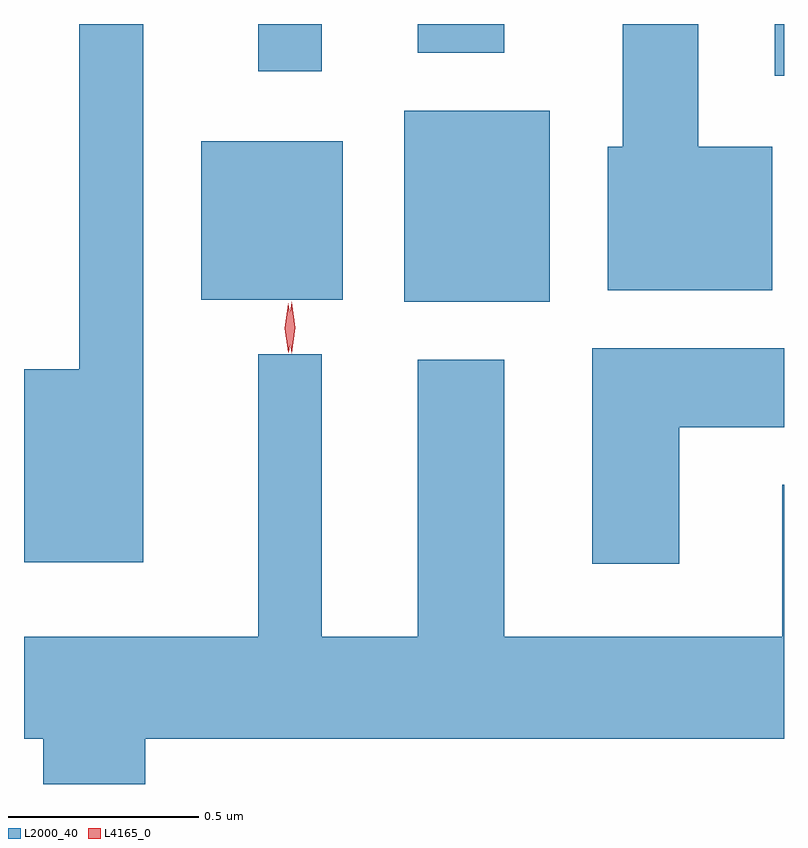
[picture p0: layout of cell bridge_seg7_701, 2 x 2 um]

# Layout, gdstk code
import gdstk
lib = gdstk.Library(unit=1e-6, precision=1e-09)
def R(c, l, rs):  # rectangles x0, y0, x1, y1
    for r in rs: c.add(gdstk.rectangle(r[:2], r[2:], *l))
def P(c, l, *ps):  # polygons
    for p in ps: c.add(gdstk.Polygon(p, *l))
L2000_40 = (2000, 40)
L4165_0 = (4165, 0)

bridge_seg7_701 = lib.new_cell('bridge_seg7_701')
R(bridge_seg7_701, L2000_40, [(975.266,1719.906,975.649,1720.409), (974.731,1719.911,975.104,1720.329), (976.241,1720.501,976.265,1720.637), (974.881,1720.513,975.049,1720.637), (975.301,1720.561,975.529,1720.637)])
P(bridge_seg7_701, L2000_40, [(976.234,1720.314),(976.039,1720.314),(976.039,1720.637),(975.841,1720.637),(975.841,1720.314),(975.801,1720.314),(975.801,1719.936),(976.234,1719.936)],
  [(974.579,1720.637),(974.411,1720.637),(974.411,1719.729),(974.265,1719.729),(974.265,1719.221),(974.579,1719.221)],
  [(975.989,1719.576),(976.265,1719.576),(976.265,1719.784),(975.761,1719.784),(975.761,1719.216),(975.989,1719.216)],
  [(974.584,1718.756),(976.265,1718.756),(976.265,1719.424),(976.261,1719.424),(976.261,1719.024),(975.529,1719.024),(975.529,1719.754),(975.301,1719.754),(975.301,1719.024),(975.049,1719.024),(975.049,1719.768),(974.881,1719.768),(974.881,1719.024),(974.265,1719.024),(974.265,1718.756),(974.316,1718.756),(974.316,1718.637),(974.584,1718.637)])
P(bridge_seg7_701, L4165_0, [(974.969,1719.77),(974.969,1719.77),(974.959,1719.838),(974.969,1719.905),(974.969,1719.906),(974.97,1719.905),(974.979,1719.838),(974.97,1719.77)],
  [(974.961,1719.773),(974.961,1719.773),(974.951,1719.837),(974.96,1719.901),(974.96,1719.902),(974.961,1719.901),(974.971,1719.837),(974.962,1719.773)])

lib.write_gds('bridge_seg7_701.gds')
